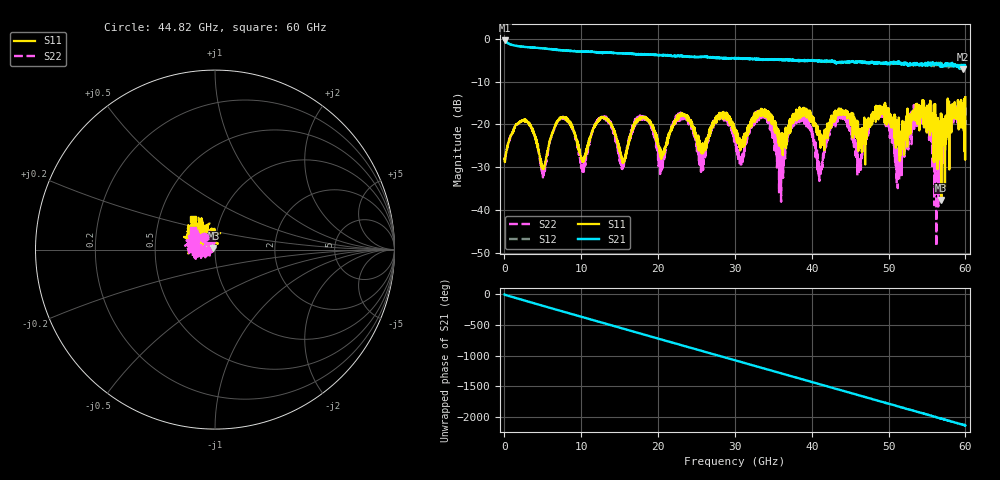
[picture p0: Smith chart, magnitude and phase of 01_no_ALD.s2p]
! File created by 'SoftPlot +Plus+ Measurement Management Software'
! SoftPlot +Plus+ Measurement Management Software
! Start 40.000000 MHz  Stop 60.000000 GHz  Points 1601
# MHZ S RI R 50
! S-Parameter data, F S11 S21 S12 S22
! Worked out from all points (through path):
!   1601 points, 40 MHz to 60 GHz, reference 50 ohm
!   highest |S21| = -0.36 dB at 40 MHz (marker M1); lowest = -7.1 dB at 59.66 GHz (marker M2)
!   group delay of S21, straight-line fit = 98.5 ps
!   lowest |S11| = -37.7 dB at 56.85 GHz (marker M3), VSWR 1.03, Z = 49.1 + j0.94 ohm
!   |S11| at or under -10 dB: start of sweep to end of sweep
!   |S22| runs from -48.5 to -15.3 dB; largest |S21 - S12| = 0.072
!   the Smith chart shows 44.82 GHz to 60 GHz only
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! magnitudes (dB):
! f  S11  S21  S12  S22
! 40 MHz  -28.0  -0.4  -0.4  -27.7
! 2.776 GHz  -18.9  -1.9  -1.9  -19.2
! 5.062 GHz  -30.5  -2.2  -2.2  -31.2
! 7.647 GHz  -18.5  -2.7  -2.6  -18.6
! 10.05 GHz  -27.8  -3.0  -3.0  -29.7
! 12.71 GHz  -18.4  -3.1  -3.2  -18.4
! 15.33 GHz  -28.3  -3.4  -3.4  -28.9
! 17.73 GHz  -18.3  -3.5  -3.6  -18.9
! 20.05 GHz  -25.2  -3.8  -3.8  -25.2
! 22.97 GHz  -17.5  -4.0  -4.0  -19.2
! 25.64 GHz  -26.6  -4.2  -4.2  -26.1
! 30.02 GHz  -21.2  -4.5  -4.5  -23.0
! 40.03 GHz  -18.4  -5.0  -5.0  -22.7
! 41.11 GHz  -22.5  -5.1  -5.2  -31.1
! 43.44 GHz  -17.8  -5.5  -5.5  -18.9
! 46.25 GHz  -21.8  -5.4  -5.4  -29.7
! 50.03 GHz  -16.2  -5.8  -5.8  -20.0
! 51.23 GHz  -21.6  -5.8  -5.7  -26.7
! 53.59 GHz  -18.8  -6.0  -5.9  -20.1
! 56.85 GHz  -37.7  -6.0  -6.2  -21.8
! 59.66 GHz  -16.2  -7.1  -6.5  -18.7
! 60 GHz  -13.6  -6.4  -6.8  -15.7
